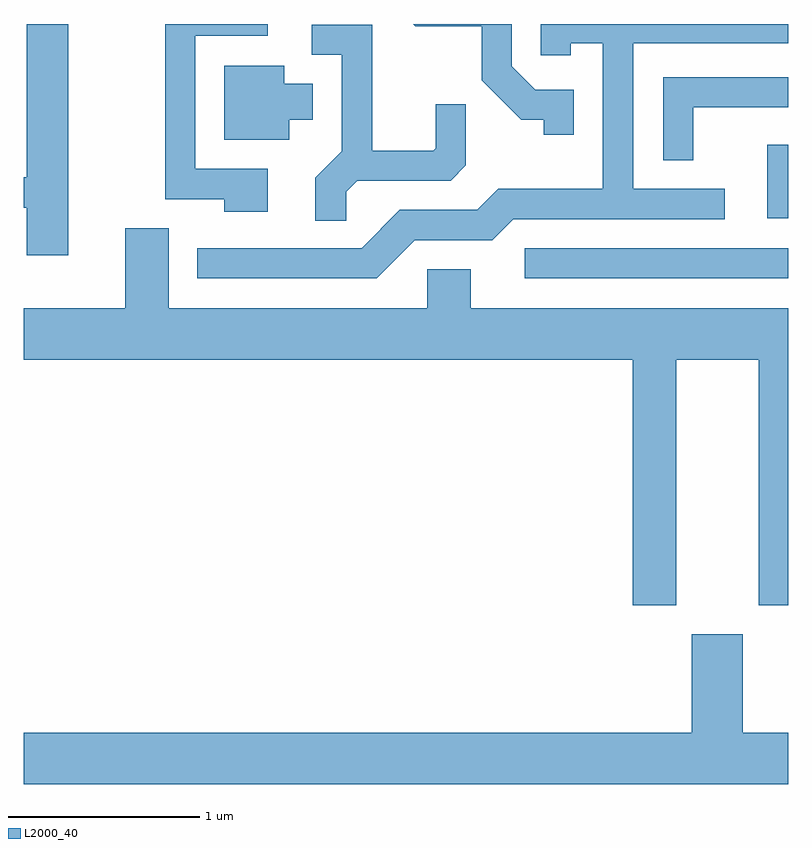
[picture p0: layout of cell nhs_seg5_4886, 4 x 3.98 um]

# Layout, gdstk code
import gdstk
lib = gdstk.Library(unit=1e-6, precision=1e-09)
def R(c, l, rs):  # rectangles x0, y0, x1, y1
    for r in rs: c.add(gdstk.rectangle(r[:2], r[2:], *l))
def P(c, l, *ps):  # polygons
    for p in ps: c.add(gdstk.Polygon(p, *l))
L2000_40 = (2000, 40)

nhs_seg5_4886 = lib.new_cell('nhs_seg5_4886')
R(nhs_seg5_4886, L2000_40, [(332.233,1492.741,333.611,1492.899), (333.501,1493.056,333.611,1493.439)])
P(nhs_seg5_4886, L2000_40, [(330.889,1493.314),(330.509,1493.314),(330.509,1494.011),(330.889,1494.011),(330.889,1494.072),(330.351,1494.072),(330.351,1493.156),(330.661,1493.156),(330.661,1493.091),(330.889,1493.091)],
  [(332.489,1493.729),(332.287,1493.729),(332.164,1493.852),(332.164,1494.072),(331.648,1494.072),(331.659,1494.061),(332.006,1494.061),(332.006,1493.779),(332.214,1493.571),(332.331,1493.571),(332.331,1493.493),(332.489,1493.493)],
  [(329.844,1494.072),(329.626,1494.072),(329.626,1493.269),(329.611,1493.269),(329.611,1493.111),(329.626,1493.111),(329.626,1492.861),(329.844,1492.861)],
  [(331.657,1492.941),(332.062,1492.941),(332.172,1493.051),(333.278,1493.051),(333.278,1493.209),(332.799,1493.209),(332.799,1493.971),(333.611,1493.971),(333.611,1494.072),(332.316,1494.072),(332.316,1493.908),(332.474,1493.908),(332.474,1493.971),(332.641,1493.971),(332.641,1493.209),(332.094,1493.209),(331.984,1493.099),(331.579,1493.099),(331.379,1492.899),(330.518,1492.899),(330.518,1492.741),(331.457,1492.741)],
  [(331.299,1493.194),(331.357,1493.251),(331.844,1493.251),(331.924,1493.332),(331.924,1493.653),(331.766,1493.653),(331.766,1493.422),(331.754,1493.409),(331.434,1493.409),(331.434,1494.069),(331.118,1494.069),(331.118,1493.911),(331.276,1493.911),(331.276,1493.407),(331.136,1493.267),(331.136,1493.043),(331.299,1493.043)],
  [(330.999,1493.571),(331.124,1493.571),(331.124,1493.759),(330.974,1493.759),(330.974,1493.854),(330.661,1493.854),(330.661,1493.466),(330.999,1493.466)],
  [(333.114,1493.636),(333.611,1493.636),(333.611,1493.794),(332.956,1493.794),(332.956,1493.358),(333.114,1493.358)],
  [(333.024,1492.316),(333.456,1492.316),(333.456,1491.031),(333.611,1491.031),(333.611,1492.584),(331.949,1492.584),(331.949,1492.789),(331.721,1492.789),(331.721,1492.584),(330.369,1492.584),(330.369,1493.004),(330.141,1493.004),(330.141,1492.584),(329.611,1492.584),(329.611,1492.316),(332.796,1492.316),(332.796,1491.031),(333.024,1491.031)],
  [(333.611,1490.364),(333.374,1490.364),(333.374,1490.879),(333.106,1490.879),(333.106,1490.364),(329.611,1490.364),(329.611,1490.096),(333.611,1490.096)])

lib.write_gds('nhs_seg5_4886.gds')
